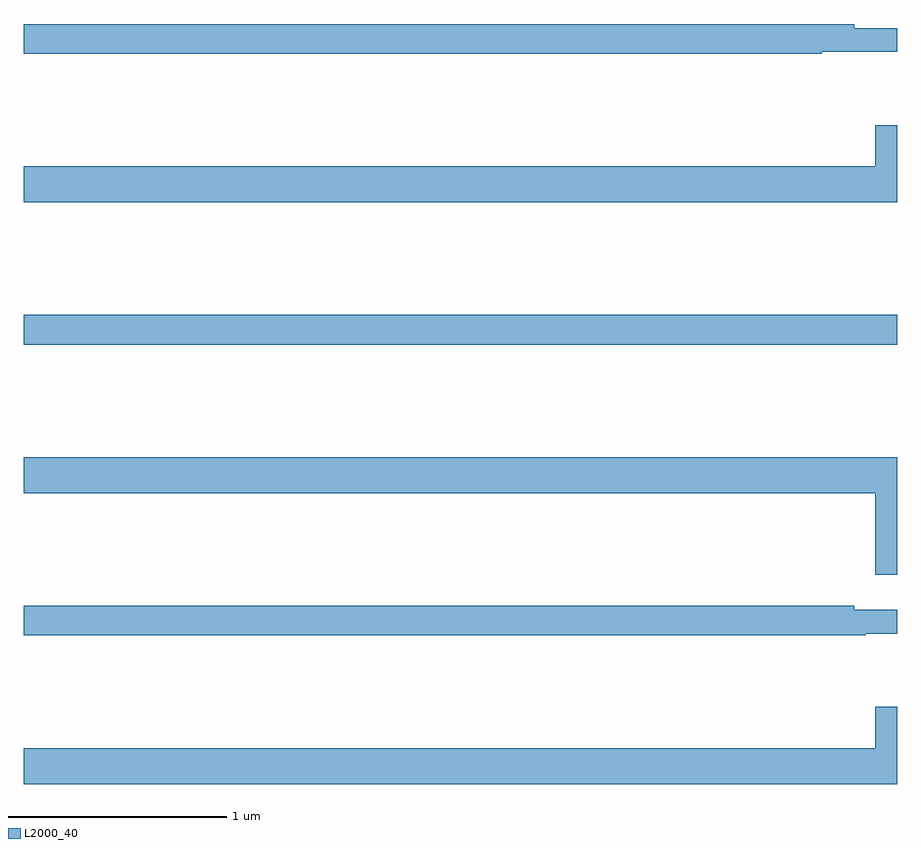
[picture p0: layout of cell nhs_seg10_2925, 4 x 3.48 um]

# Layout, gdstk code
import gdstk
lib = gdstk.Library(unit=1e-6, precision=1e-09)
def R(c, l, rs):  # rectangles x0, y0, x1, y1
    for r in rs: c.add(gdstk.rectangle(r[:2], r[2:], *l))
def P(c, l, *ps):  # polygons
    for p in ps: c.add(gdstk.Polygon(p, *l))
L2000_40 = (2000, 40)

nhs_seg10_2925 = lib.new_cell('nhs_seg10_2925')
R(nhs_seg10_2925, L2000_40, [(269,1316.98,273,1317.116)])
P(nhs_seg10_2925, L2000_40, [(272.654,1318.32),(273,1318.32),(273,1318.429),(272.804,1318.429),(272.804,1318.448),(269,1318.448),(269,1318.312),(272.654,1318.312)],
  [(273,1317.985),(272.9,1317.985),(272.9,1317.796),(269,1317.796),(269,1317.632),(273,1317.632)],
  [(273,1316.464),(269,1316.464),(269,1316.3),(272.9,1316.3),(272.9,1315.926),(273,1315.926)],
  [(272.855,1315.656),(273,1315.656),(273,1315.765),(272.804,1315.765),(272.804,1315.784),(269,1315.784),(269,1315.648),(272.855,1315.648)],
  [(273,1315.321),(272.9,1315.321),(272.9,1315.132),(269,1315.132),(269,1314.968),(273,1314.968)])

lib.write_gds('nhs_seg10_2925.gds')
